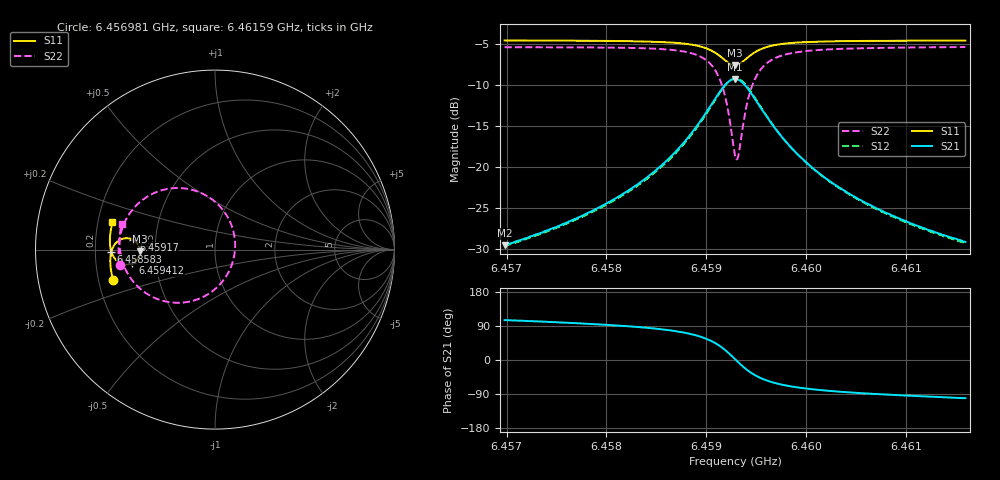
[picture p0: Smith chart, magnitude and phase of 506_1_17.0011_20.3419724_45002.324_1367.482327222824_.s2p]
#  HZ  S  RI  R  50.00
! Rohde & Schwarz Vector Network Analyzer
! Rohde-Schwarz,ZNB20-2Port,1311601062101988,3.16
! Created: UTC 3/20/2024, 11:14:47 PM
! freq[Hz]  re:S11  im:S11  re:S21  im:S21  re:S12  im:S12  re:S22  im:S22
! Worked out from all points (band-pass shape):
!   401 points, 6.456981 GHz to 6.46159 GHz, reference 50 ohm
!   highest |S21| = -9.24 dB at 6.459286 GHz (marker M1); lowest = -29.5 dB at 6.456981 GHz (marker M2)
!   |S21| within 3 dB of the highest: 6.459055 GHz to 6.459516 GHz (461.3 kHz wide, 0.00714 % of centre)
!   lowest |S11| = -7.6 dB at 6.459286 GHz (marker M3), VSWR 2.44, Z = 20.5 - j0.48 ohm
!   |S11| at or under -10 dB: nowhere
!   |S22| runs from -19.0 to -5.4 dB; largest |S21 - S12| = 0.014
!   S11 on the Smith chart (normalised r, x): 6.456981 GHz: 0.26, -0.14; 6.458583 GHz: 0.27, -0.01; 6.45917 GHz: 0.37, +0.05; 6.459412 GHz: 0.37, -0.07; 6.46159 GHz: 0.26, +0.12
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6.4569811e9  -0.5668 -0.1719  -0.00883 0.0322  -0.00715 0.0323  -0.532 -0.0846
6.4577531e9  -0.5808 -0.1045  -0.00552 0.0503  -0.00309 0.0497  -0.5374 0.00557
6.4581679e9  -0.5836 -0.0629  8.15e-06 0.0692  0.00337 0.0677  -0.5298 0.0708
6.4585252e9  -0.5799 -0.0205  0.0142 0.0986  0.0181 0.0958  -0.5039 0.1507
6.4585828e9  -0.5781 -0.0127  0.0186 0.1055  0.0226 0.1023  -0.4958 0.1675
6.4587902e9  -0.565 0.0195  0.046 0.1377  0.05 0.1327  -0.4441 0.2402
6.45894e9  -0.5425 0.0458  0.0913 0.1681  0.0944 0.1616  -0.3609 0.3044
6.4590783e9  -0.4986 0.0633  0.1782 0.1848  0.1791 0.1773  -0.202 0.3434
6.4591705e9  -0.4542 0.0532  0.2679 0.1536  0.2683 0.1477  -0.0353 0.293
6.4592396e9  -0.4253 0.0212  0.3285 0.0818  0.3305 0.0765  0.08 0.1638
6.4592857e9  -0.4183 -0.00966  0.3447 0.014  0.3484 0.00705  0.1122 0.037
6.4592972e9  -0.4188 -0.0177  0.3445 -0.00375  0.3483 -0.0113  0.1119 0.00333
6.4593203e9  -0.4224 -0.0334  0.339 -0.0385  0.3427 -0.0476  0.1008 -0.0624
6.4593664e9  -0.4379 -0.0593  0.3105 -0.0982  0.3126 -0.1101  0.0432 -0.1755
6.4594124e9  -0.4599 -0.0756  0.2685 -0.1392  0.2675 -0.1524  -0.042 -0.2504
6.4595046e9  -0.5032 -0.0822  0.1836 -0.1702  0.1775 -0.1819  -0.2106 -0.2963
6.4596544e9  -0.547 -0.0618  0.0959 -0.1565  0.0875 -0.1625  -0.3781 -0.247
6.4598158e9  -0.5685 -0.0341  0.0513 -0.1287  0.0436 -0.1313  -0.4584 -0.1748
6.4600577e9  -0.5811 0.00154  0.0223 -0.097  0.0163 -0.0977  -0.5062 -0.0923
6.4604034e9  -0.5855 0.0424  0.00619 -0.0702  0.00209 -0.0698  -0.5276 -0.0134
6.4608298e9  -0.5835 0.0853  -0.00151 -0.0519  -0.00436 -0.0509  -0.5318 0.055
6.4615903e9  -0.5712 0.1526  -0.00648 -0.0345  -0.00824 -0.0336  -0.5203 0.1447
